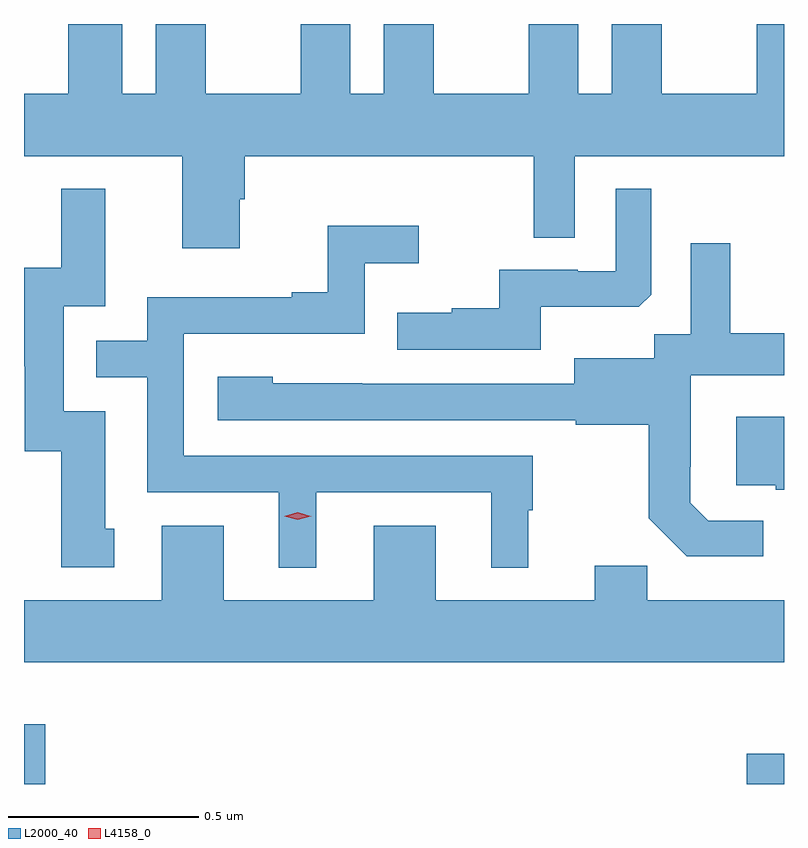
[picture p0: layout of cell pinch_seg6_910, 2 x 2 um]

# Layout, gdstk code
import gdstk
lib = gdstk.Library(unit=1e-6, precision=1e-09)
def R(c, l, rs):  # rectangles x0, y0, x1, y1
    for r in rs: c.add(gdstk.rectangle(r[:2], r[2:], *l))
def P(c, l, *ps):  # polygons
    for p in ps: c.add(gdstk.Polygon(p, *l))
L2000_40 = (2000, 40)
L4158_0 = (4158, 0)

pinch_seg6_910 = lib.new_cell('pinch_seg6_910')
R(pinch_seg6_910, L2000_40, [(193.191,945.684,193.247,945.841), (195.093,945.684,195.191,945.763)])
P(pinch_seg6_910, L2000_40, [(193.759,947.223),(193.772,947.223),(193.772,947.336),(194.532,947.336),(194.532,947.122),(194.64,947.122),(194.64,947.336),(195.191,947.336),(195.191,947.684),(195.119,947.684),(195.119,947.5),(194.869,947.5),(194.869,947.684),(194.738,947.684),(194.738,947.5),(194.65,947.5),(194.65,947.684),(194.519,947.684),(194.519,947.5),(194.269,947.5),(194.269,947.684),(194.138,947.684),(194.138,947.5),(194.05,947.5),(194.05,947.684),(193.919,947.684),(193.919,947.5),(193.669,947.5),(193.669,947.684),(193.538,947.684),(193.538,947.5),(193.45,947.5),(193.45,947.684),(193.307,947.684),(193.307,947.5),(193.191,947.5),(193.191,947.336),(193.607,947.336),(193.607,947.094),(193.759,947.094)],
  [(193.429,946.356),(193.405,946.356),(193.405,946.665),(193.296,946.665),(193.296,946.941),(193.405,946.941),(193.405,947.251),(193.289,947.251),(193.289,947.042),(193.191,947.042),(193.191,946.784),(193.193,946.784),(193.193,946.56),(193.289,946.56),(193.289,946.254),(193.429,946.254)],
  [(194.551,946.94),(194.809,946.94),(194.841,946.971),(194.841,947.251),(194.748,947.251),(194.748,947.034),(194.648,947.034),(194.648,947.037),(194.441,947.037),(194.441,946.936),(194.317,946.936),(194.317,946.924),(194.173,946.924),(194.173,946.827),(194.551,946.827)],
  [(193.96,946.452),(194.42,946.452),(194.42,946.253),(194.518,946.253),(194.518,946.404),(194.53,946.404),(194.53,946.548),(193.611,946.548),(193.611,946.869),(194.088,946.869),(194.088,947.054),(194.23,947.054),(194.23,947.153),(193.99,947.153),(193.99,946.978),(193.895,946.978),(193.895,946.965),(193.515,946.965),(193.515,946.851),(193.381,946.851),(193.381,946.755),(193.515,946.755),(193.515,946.452),(193.862,946.452),(193.862,946.253),(193.96,946.253)],
  [(195.136,946.377),(194.991,946.377),(194.944,946.424),(194.944,946.519),(194.946,946.519),(194.946,946.76),(195.191,946.76),(195.191,946.87),(195.049,946.87),(195.049,947.107),(194.945,947.107),(194.945,946.868),(194.85,946.868),(194.85,946.804),(194.639,946.804),(194.639,946.737),(194.081,946.737),(194.081,946.738),(193.845,946.738),(193.845,946.756),(193.701,946.756),(193.701,946.641),(194.643,946.641),(194.643,946.629),(194.835,946.629),(194.835,946.383),(194.935,946.283),(195.136,946.283)],
  [(195.191,946.651),(195.065,946.651),(195.065,946.47),(195.169,946.47),(195.169,946.458),(195.191,946.458)],
  [(195.191,946.168),(194.831,946.168),(194.831,946.259),(194.693,946.259),(194.693,946.168),(194.275,946.168),(194.275,946.363),(194.111,946.363),(194.111,946.168),(193.717,946.168),(193.717,946.363),(193.553,946.363),(193.553,946.168),(193.191,946.168),(193.191,946.004),(195.191,946.004)])
P(pinch_seg6_910, L4158_0, [(193.911,946.379),(193.876,946.389),(193.875,946.389),(193.876,946.389),(193.911,946.399),(193.946,946.389),(193.947,946.389),(193.946,946.389)])

lib.write_gds('pinch_seg6_910.gds')
